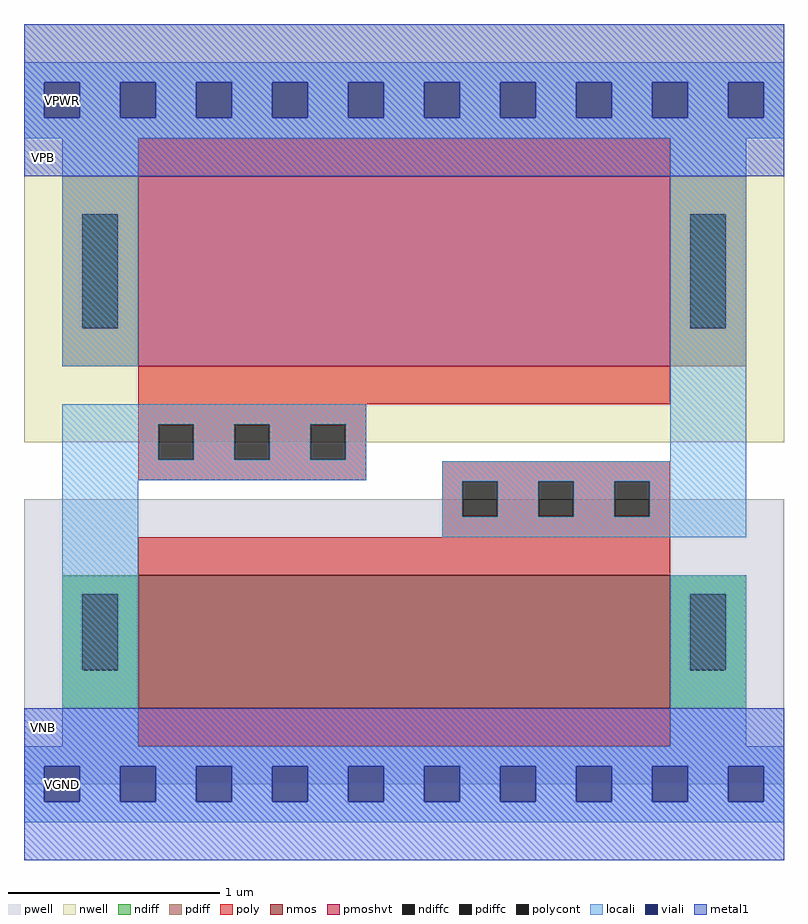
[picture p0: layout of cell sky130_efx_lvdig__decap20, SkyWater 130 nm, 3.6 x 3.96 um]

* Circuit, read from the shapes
.subckt sky130_efx_lvdig__decap20 VGND VPWR VPB VNB
XM1 VGND VPWR VGND VNB sky130_fd_pr__nfet_01v8 w=0.63 l=2.52
XM2 VPWR VGND VPWR VPB sky130_fd_pr__pfet_01v8_hvt w=0.9 l=2.52
.ends

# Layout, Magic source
magic
tech sky130A
magscale 1 2
<< nwell >>
rect 0 288 720 684
<< pwell >>
rect 0 0 720 216
<< poly >>
rect 108 324 612 360
rect 108 305 324 324
rect 108 271 127 305
rect 161 271 199 305
rect 233 271 271 305
rect 305 271 324 305
rect 108 252 324 271
rect 396 251 612 270
rect 396 217 415 251
rect 449 217 487 251
rect 521 217 559 251
rect 593 217 612 251
rect 396 198 612 217
rect 108 162 612 198
<< polycont >>
rect 127 271 161 305
rect 199 271 233 305
rect 271 271 305 305
rect 415 217 449 251
rect 487 217 521 251
rect 559 217 593 251
<< locali >>
rect 0 629 720 648
rect 0 595 19 629
rect 53 595 91 629
rect 125 595 163 629
rect 197 595 235 629
rect 269 595 307 629
rect 341 595 379 629
rect 413 595 451 629
rect 485 595 523 629
rect 557 595 595 629
rect 629 595 667 629
rect 701 595 720 629
rect 0 576 720 595
rect 36 360 108 576
rect 36 305 324 324
rect 36 271 127 305
rect 161 271 199 305
rect 233 271 271 305
rect 305 271 324 305
rect 36 252 324 271
rect 612 270 684 576
rect 36 0 108 252
rect 396 251 684 270
rect 396 217 415 251
rect 449 217 487 251
rect 521 217 559 251
rect 593 217 684 251
rect 396 198 684 217
rect 612 0 684 162
rect 0 -19 720 0
rect 0 -53 19 -19
rect 53 -53 91 -19
rect 125 -53 163 -19
rect 197 -53 235 -19
rect 269 -53 307 -19
rect 341 -53 379 -19
rect 413 -53 451 -19
rect 485 -53 523 -19
rect 557 -53 595 -19
rect 629 -53 667 -19
rect 701 -53 720 -19
rect 0 -72 720 -53
<< viali >>
rect 19 595 53 629
rect 91 595 125 629
rect 163 595 197 629
rect 235 595 269 629
rect 307 595 341 629
rect 379 595 413 629
rect 451 595 485 629
rect 523 595 557 629
rect 595 595 629 629
rect 667 595 701 629
rect 19 -53 53 -19
rect 91 -53 125 -19
rect 163 -53 197 -19
rect 235 -53 269 -19
rect 307 -53 341 -19
rect 379 -53 413 -19
rect 451 -53 485 -19
rect 523 -53 557 -19
rect 595 -53 629 -19
rect 667 -53 701 -19
<< metal1 >>
rect 0 629 720 684
rect 0 595 19 629
rect 53 595 91 629
rect 125 595 163 629
rect 197 595 235 629
rect 269 595 307 629
rect 341 595 379 629
rect 413 595 451 629
rect 485 595 523 629
rect 557 595 595 629
rect 629 595 667 629
rect 701 595 720 629
rect 0 540 720 595
rect 0 -19 720 36
rect 0 -53 19 -19
rect 53 -53 91 -19
rect 125 -53 163 -19
rect 197 -53 235 -19
rect 269 -53 307 -19
rect 341 -53 379 -19
rect 413 -53 451 -19
rect 485 -53 523 -19
rect 557 -53 595 -19
rect 629 -53 667 -19
rect 701 -53 720 -19
rect 0 -108 720 -53
use nmos_n3f5_f1_l2520_ff_sp  nmos_n3f5_f1_l2520_ff_sp_0
transform 1 0 72 0 1 36
box -72 -72 648 198
use pmos_n5_f1_l2520_hvt_ff_sp  pmos_n5_f1_l2520_hvt_ff_sp_0
transform 1 0 72 0 1 360
box -72 -72 648 252
<< labels >>
flabel metal1 0 -72 72 0 0 FreeSans 288 0 0 0 VGND
port 1 nsew ground bidirectional
flabel metal1 0 576 72 648 0 FreeSans 288 0 0 0 VPWR
port 2 nsew power bidirectional
flabel nwell 0 540 36 576 0 FreeSans 288 0 0 0 VPB
port 3 nsew power bidirectional
flabel pwell 0 0 36 36 0 FreeSans 288 0 0 0 VNB
port 4 nsew ground bidirectional
<< properties >>
string FIXED_BBOX 0 -36 720 612
<< end >>

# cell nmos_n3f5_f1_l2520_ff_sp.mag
magic
tech sky130A
magscale 1 2
<< pwell >>
rect -72 -72 648 198
<< nmos >>
rect 36 0 540 126
<< ndiff >>
rect -36 108 36 126
rect -36 36 -17 108
rect 17 36 36 108
rect -36 0 36 36
rect 540 108 612 126
rect 540 36 559 108
rect 593 36 612 108
rect 540 0 612 36
<< ndiffc >>
rect -17 36 17 108
rect 559 36 593 108
<< poly >>
rect 36 126 540 162
rect 36 -36 540 0
<< locali >>
rect -36 108 36 126
rect -36 36 -17 108
rect 17 36 36 108
rect -36 0 36 36
rect 540 108 612 126
rect 540 36 559 108
rect 593 36 612 108
rect 540 0 612 36
<< end >>

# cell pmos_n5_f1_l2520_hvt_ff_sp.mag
magic
tech sky130A
magscale 1 2
<< nwell >>
rect -72 -72 648 252
<< pmoshvt >>
rect 36 0 540 180
<< pdiff >>
rect -36 144 36 180
rect -36 36 -17 144
rect 17 36 36 144
rect -36 0 36 36
rect 540 144 612 180
rect 540 36 559 144
rect 593 36 612 144
rect 540 0 612 36
<< pdiffc >>
rect -17 36 17 144
rect 559 36 593 144
<< poly >>
rect 36 180 540 216
rect 36 -36 540 0
<< locali >>
rect -36 144 36 180
rect -36 36 -17 144
rect 17 36 36 144
rect -36 0 36 36
rect 540 144 612 180
rect 540 36 559 144
rect 593 36 612 144
rect 540 0 612 36
<< end >>
